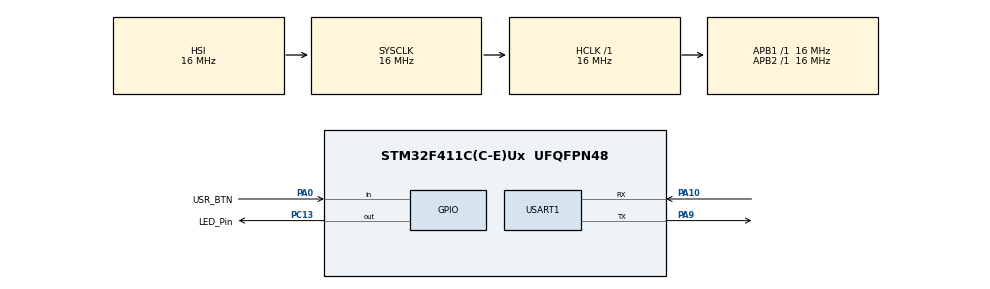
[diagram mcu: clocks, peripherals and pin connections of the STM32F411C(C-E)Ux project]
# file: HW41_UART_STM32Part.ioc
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Mcu.Family=STM32F4
Mcu.Name=STM32F411C(C-E)Ux
Mcu.Package=UFQFPN48
NVIC.PriorityGroup=NVIC_PRIORITYGROUP_4
NVIC.USART1_IRQn=true\:0\:0\:false\:false\:true\:true\:true\:true
PA0-WKUP.GPIO_Label=USR_BTN
PA0-WKUP.GPIO_PuPd=GPIO_PULLUP
PA0-WKUP.Signal=GPIO_Input
PA10.Mode=Asynchronous
PA10.Signal=USART1_RX
PA9.Mode=Asynchronous
PA9.Signal=USART1_TX
PC13-ANTI_TAMP.GPIO_Label=LED_Pin
PC13-ANTI_TAMP.Signal=GPIO_Output
ProjectManager.HeapSize=0x200
ProjectManager.StackSize=0x400
ProjectManager.TargetToolchain=STM32CubeIDE
RCC.AHBFreq_Value=16000000
RCC.APB1Freq_Value=16000000
RCC.APB2Freq_Value=16000000
RCC.CortexFreq_Value=16000000
RCC.HSE_VALUE=25000000
RCC.HSI_VALUE=16000000
RCC.LSE_VALUE=32768
RCC.SYSCLKFreq_VALUE=16000000
RCC.VCOOutputFreq_Value=192000000
USART1.VirtualMode=VM_ASYNC
board=custom

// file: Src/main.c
/* USER CODE BEGIN Header */
/**
  ******************************************************************************
  * @file           : main.c
  * @brief          : Main program body
  ******************************************************************************
  * @attention
  *
  * Copyright (c) 2026 STMicroelectronics.
  * All rights reserved.
  *
  * This software is licensed under terms that can be found in the LICENSE file
  * in the root directory of this software component.
  * If no LICENSE file comes with this software, it is provided AS-IS.
  *
  ******************************************************************************
  */
/* USER CODE END Header */
#include "main.h"

/* USER CODE BEGIN Includes */
#include <string.h>
/* USER CODE END Includes */

/* USER CODE BEGIN PD */
#define RX_LINE_MAX  16
#define CMD_STR      "TOGGLE"

/* USER CODE END PD */

UART_HandleTypeDef huart1;

/* USER CODE BEGIN PV */
static uint8_t  rx_byte;
static char     rx_line[RX_LINE_MAX];
static uint8_t  rx_len = 0;
/* USER CODE END PV */

void SystemClock_Config(void);
static void MX_GPIO_Init(void);
static void MX_USART1_UART_Init(void);

/* USER CODE BEGIN 0 */
void HAL_UART_RxCpltCallback(UART_HandleTypeDef *huart)
{
    if (huart == &huart1) {
        char c = (char)rx_byte;

        if (c == '\n') {
            // end of command
            rx_line[rx_len] = '\0';

            if (strcmp(rx_line, CMD_STR) == 0) {
                HAL_GPIO_TogglePin(LED_Pin_GPIO_Port, LED_Pin_Pin);
            }

            rx_len = 0; // reset for next command
        } else {
            if (rx_len < RX_LINE_MAX - 1) {
                rx_line[rx_len++] = c;
            } else {
                // if overflow -> reset and wait for next command
                rx_len = 0;
            }
        }
        // Arm for next byte reception with interrupt
        HAL_UART_Receive_IT(&huart1, &rx_byte, 1);
    }
}
/* USER CODE END 0 */

int main(void)
{

  /* MCU Configuration--------------------------------------------------------*/

  /* Reset of all peripherals, Initializes the Flash interface and the Systick. */
  HAL_Init();

  /* Configure the system clock */
  SystemClock_Config();

  /* Initialize all configured peripherals */
  MX_GPIO_Init();
  MX_USART1_UART_Init();
  /* USER CODE BEGIN 2 */
  HAL_GPIO_WritePin(LED_Pin_GPIO_Port, LED_Pin_Pin, GPIO_PIN_SET); // Init with LED OFF

   // Arm for first byte reception with interrupt
   HAL_UART_Receive_IT(&huart1, &rx_byte, 1);
  /* USER CODE END 2 */

  /* Infinite loop */
  /* USER CODE BEGIN WHILE */
  char msg[] = "Ping";
  uint32_t prev = HAL_GetTick();
  uint32_t curr;
  while (1)
  {
    /* USER CODE END WHILE */

    /* USER CODE BEGIN 3 */
	  curr = HAL_GetTick();
//	  if (HAL_GPIO_ReadPin(USR_BTN_GPIO_Port, USR_BTN_Pin) && (curr - prev) > 80){
	  if (!HAL_GPIO_ReadPin(USR_BTN_GPIO_Port, USR_BTN_Pin) && (curr - prev) > 80){
		  HAL_UART_Transmit(&huart1, (uint8_t *)msg, sizeof(msg), 100);
		  prev = HAL_GetTick();
	  }
  }
  /* USER CODE END 3 */
}

void SystemClock_Config(void)
{
  RCC_OscInitTypeDef RCC_OscInitStruct = {0};
  RCC_ClkInitTypeDef RCC_ClkInitStruct = {0};

  /** Configure the main internal regulator output voltage
  */
  __HAL_RCC_PWR_CLK_ENABLE();
  __HAL_PWR_VOLTAGESCALING_CONFIG(PWR_REGULATOR_VOLTAGE_SCALE1);

  /** Initializes the RCC Oscillators according to the specified parameters
  * in the RCC_OscInitTypeDef structure.
  */
  RCC_OscInitStruct.OscillatorType = RCC_OSCILLATORTYPE_HSI;
  RCC_OscInitStruct.HSIState = RCC_HSI_ON;
  RCC_OscInitStruct.HSICalibrationValue = RCC_HSICALIBRATION_DEFAULT;
  RCC_OscInitStruct.PLL.PLLState = RCC_PLL_NONE;
  if (HAL_RCC_OscConfig(&RCC_OscInitStruct) != HAL_OK)
  {
    Error_Handler();
  }

  /** Initializes the CPU, AHB and APB buses clocks
  */
  RCC_ClkInitStruct.ClockType = RCC_CLOCKTYPE_HCLK|RCC_CLOCKTYPE_SYSCLK
                              |RCC_CLOCKTYPE_PCLK1|RCC_CLOCKTYPE_PCLK2;
  RCC_ClkInitStruct.SYSCLKSource = RCC_SYSCLKSOURCE_HSI;
  RCC_ClkInitStruct.AHBCLKDivider = RCC_SYSCLK_DIV1;
  RCC_ClkInitStruct.APB1CLKDivider = RCC_HCLK_DIV1;
  RCC_ClkInitStruct.APB2CLKDivider = RCC_HCLK_DIV1;

  if (HAL_RCC_ClockConfig(&RCC_ClkInitStruct, FLASH_LATENCY_0) != HAL_OK)
  {
    Error_Handler();
  }
}

static void MX_USART1_UART_Init(void)
{

  huart1.Instance = USART1;
  huart1.Init.BaudRate = 115200;
  huart1.Init.WordLength = UART_WORDLENGTH_8B;
  huart1.Init.StopBits = UART_STOPBITS_1;
  huart1.Init.Parity = UART_PARITY_NONE;
  huart1.Init.Mode = UART_MODE_TX_RX;
  huart1.Init.HwFlowCtl = UART_HWCONTROL_NONE;
  huart1.Init.OverSampling = UART_OVERSAMPLING_16;
  if (HAL_UART_Init(&huart1) != HAL_OK)
  {
    Error_Handler();
  }

}

static void MX_GPIO_Init(void)
{
  GPIO_InitTypeDef GPIO_InitStruct = {0};

  /* GPIO Ports Clock Enable */
  __HAL_RCC_GPIOC_CLK_ENABLE();
  __HAL_RCC_GPIOA_CLK_ENABLE();

  /*Configure GPIO pin Output Level */
  HAL_GPIO_WritePin(LED_Pin_GPIO_Port, LED_Pin_Pin, GPIO_PIN_RESET);

  /*Configure GPIO pin : LED_Pin_Pin */
  GPIO_InitStruct.Pin = LED_Pin_Pin;
  GPIO_InitStruct.Mode = GPIO_MODE_OUTPUT_PP;
  GPIO_InitStruct.Pull = GPIO_NOPULL;
  GPIO_InitStruct.Speed = GPIO_SPEED_FREQ_LOW;
  HAL_GPIO_Init(LED_Pin_GPIO_Port, &GPIO_InitStruct);

  /*Configure GPIO pin : USR_BTN_Pin */
  GPIO_InitStruct.Pin = USR_BTN_Pin;
  GPIO_InitStruct.Mode = GPIO_MODE_INPUT;
  GPIO_InitStruct.Pull = GPIO_PULLUP;
  HAL_GPIO_Init(USR_BTN_GPIO_Port, &GPIO_InitStruct);

}

void Error_Handler(void)
{
  __disable_irq();
  while (1)
  {
  }
}
